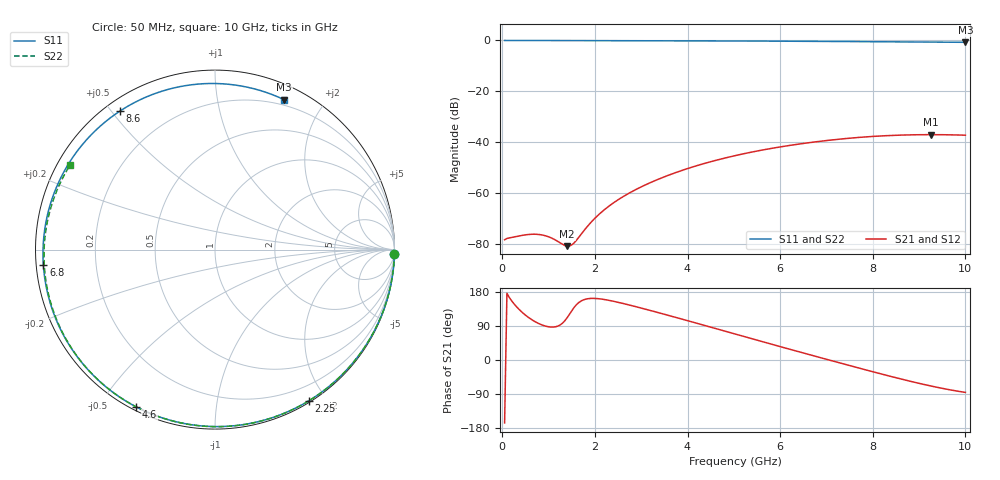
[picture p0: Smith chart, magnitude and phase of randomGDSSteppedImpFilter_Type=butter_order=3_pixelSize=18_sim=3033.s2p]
! freq	dB(S11)	phase(S11)	dB(S12)	phase(S12)
!  dB(S21)	phase(S21)	dB(S22)	phase(S22)
!S-par simulation data
#  GHz  S  DB  R 50
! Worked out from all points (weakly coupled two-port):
!   200 points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, 50 MHz to 10 GHz, reference 50 ohm
!   highest |S21| = -37.01 dB at 9.25 GHz (marker M1); lowest = -80.8 dB at 1.4 GHz (marker M2)
!   lowest |S11| = -0.7 dB at 10 GHz (marker M3), VSWR 23.89, Z = 7.16 + j77.6 ohm
!   |S11| at or under -10 dB: nowhere
!   |S22| runs from -0.6 to 0.0 dB; largest |S21 - S12| = 0
!   S11 on the Smith chart (normalised r, x): 50 MHz: 0, -87; 2.25 GHz: 0.02, -1.79; 4.6 GHz: 0.01, -0.62; 6.8 GHz: 0.02, -0.05; 8.6 GHz: 0.04, +0.53; 10 GHz: 0.14, +1.55
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0.05  -0.00 -1.3  -78.33 -166.0  -78.33 -166.0  -0.00 -1.3
0.75  -0.02 -19.8  -76.19 98.4  -76.19 98.4  -0.02 -18.9
1  -0.03 -26.3  -77.16 87.6  -77.16 87.6  -0.03 -25.1
1.3  -0.04 -34.0  -80.13 97.2  -80.13 97.2  -0.04 -32.5
1.4  -0.05 -36.6  -80.84 111.6  -80.84 111.6  -0.04 -34.9
1.55  -0.05 -40.5  -79.56 138.6  -79.56 138.6  -0.05 -38.5
1.75  -0.06 -45.6  -75.04 158.5  -75.04 158.5  -0.05 -43.4
2.25  -0.07 -58.3  -65.84 158.7  -65.84 158.7  -0.07 -55.2
2.75  -0.09 -70.8  -59.88 144.9  -59.88 144.9  -0.08 -66.6
3.4  -0.12 -86.9  -54.30 124.0  -54.30 124.0  -0.10 -81.0
4  -0.14 -101.7  -50.35 103.8  -50.35 103.8  -0.13 -93.7
4.6  -0.17 -116.5  -47.16 83.3  -47.16 83.3  -0.15 -106.0
5.05  -0.20 -127.8  -45.17 67.8  -45.17 67.8  -0.17 -115.0
5.95  -0.27 -151.1  -41.99 37.0  -41.99 37.0  -0.22 -132.3
6.7  -0.34 -171.9  -39.99 11.8  -39.99 11.8  -0.27 -146.4
6.8  -0.35 -174.8  -39.76 8.5  -39.76 8.5  -0.28 -148.3
7.6  -0.45 160.3  -38.25 -18.0  -38.25 -18.0  -0.34 -163.3
8.35  -0.54 134.0  -37.37 -42.1  -37.37 -42.1  -0.41 -177.4
8.6  -0.57 124.5  -37.20 -49.9  -37.20 -49.9  -0.44 177.8
9.25  -0.65 98.1  -37.01 -68.5  -37.01 -68.5  -0.50 165.0
9.65  -0.69 80.8  -37.07 -78.3  -37.07 -78.3  -0.55 156.9
10  -0.73 65.3  -37.23 -85.5  -37.23 -85.5  -0.59 149.7
